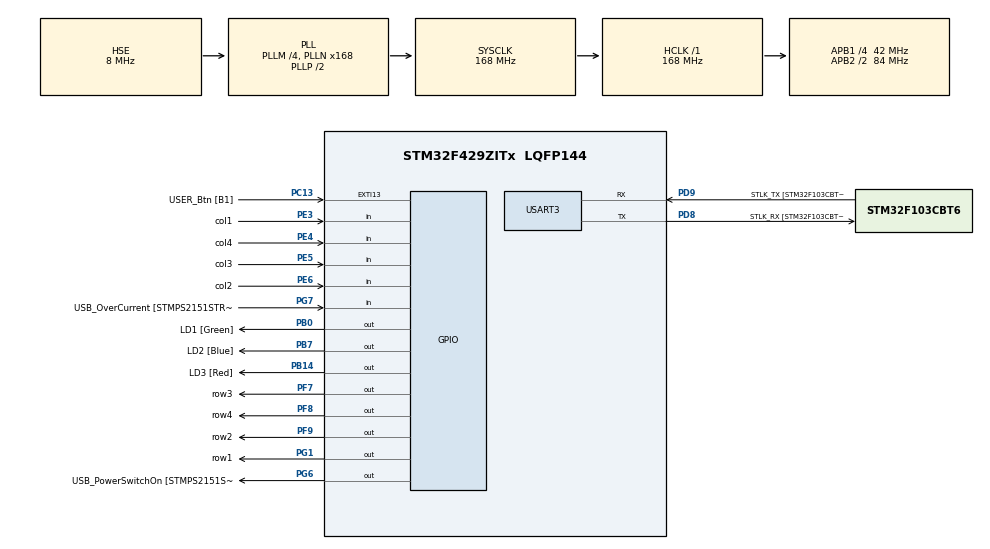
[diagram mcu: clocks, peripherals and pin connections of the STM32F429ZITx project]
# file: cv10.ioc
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Mcu.Family=STM32F4
Mcu.Name=STM32F429ZITx
Mcu.Package=LQFP144
NVIC.PriorityGroup=NVIC_PRIORITYGROUP_4
NVIC.TIM3_IRQn=true\:0\:0\:false\:false\:true\:true\:true\:true
PA1.GPIO_Label=RMII_REF_CLK [LAN8742A-CZ-TR_REFCLK0]
PA1.Signal=ETH_REF_CLK
PA10.GPIO_Label=USB_ID
PA10.Signal=USB_OTG_FS_ID
PA11.GPIO_Label=USB_DM
PA11.Signal=USB_OTG_FS_DM
PA12.GPIO_Label=USB_DP
PA12.Signal=USB_OTG_FS_DP
PA13.GPIO_Label=TMS
PA13.Mode=Serial_Wire
PA13.Signal=SYS_JTMS-SWDIO
PA14.GPIO_Label=TCK
PA14.Mode=Serial_Wire
PA14.Signal=SYS_JTCK-SWCLK
PA2.GPIO_Label=RMII_MDIO [LAN8742A-CZ-TR_MDIO]
PA2.Signal=ETH_MDIO
PA7.GPIO_Label=RMII_CRS_DV [LAN8742A-CZ-TR_CRS_DV]
PA7.Signal=ETH_CRS_DV
PA8.GPIO_Label=USB_SOF [TP1]
PA8.Signal=USB_OTG_FS_SOF
PA9.GPIO_Label=USB_VBUS
PA9.Signal=USB_OTG_FS_VBUS
PB0.GPIO_Label=LD1 [Green]
PB0.Signal=GPIO_Output
PB13.GPIO_Label=RMII_TXD1 [LAN8742A-CZ-TR_TXD1]
PB13.Signal=ETH_TXD1
PB14.GPIO_Label=LD3 [Red]
PB14.Signal=GPIO_Output
PB7.GPIO_Label=LD2 [Blue]
PB7.Signal=GPIO_Output
PC1.GPIO_Label=RMII_MDC [LAN8742A-CZ-TR_MDC]
PC1.Signal=ETH_MDC
PC13.GPIO_Label=USER_Btn [B1]
PC13.Signal=GPXTI13
PC14/OSC32_IN.Mode=LSE-External-Oscillator
PC14/OSC32_IN.Signal=RCC_OSC32_IN
PC15/OSC32_OUT.Mode=LSE-External-Oscillator
PC15/OSC32_OUT.Signal=RCC_OSC32_OUT
PC4.GPIO_Label=RMII_RXD0 [LAN8742A-CZ-TR_RXD0]
PC4.Signal=ETH_RXD0
PC5.GPIO_Label=RMII_RXD1 [LAN8742A-CZ-TR_RXD1]
PC5.Signal=ETH_RXD1
PD8.GPIO_Label=STLK_RX [STM32F103CBT6_PA3]
PD8.Mode=Asynchronous
PD8.Signal=USART3_TX
PD9.GPIO_Label=STLK_TX [STM32F103CBT6_PA2]
PD9.Mode=Asynchronous
PD9.Signal=USART3_RX
PE3.GPIO_Label=col1
PE3.GPIO_PuPd=GPIO_PULLUP
PE3.Signal=GPIO_Input
PE4.GPIO_Label=col4
PE4.GPIO_PuPd=GPIO_PULLUP
PE4.Signal=GPIO_Input
PE5.GPIO_Label=col3
PE5.GPIO_PuPd=GPIO_PULLUP
PE5.Signal=GPIO_Input
PE6.GPIO_Label=col2
PE6.GPIO_PuPd=GPIO_PULLUP
PE6.Signal=GPIO_Input
PF7.GPIO_Label=row3
PF7.GPIO_ModeDefaultOutputPP=GPIO_MODE_OUTPUT_OD
PF7.GPIO_PuPd=GPIO_NOPULL
PF7.Signal=GPIO_Output
PF8.GPIO_Label=row4
PF8.GPIO_ModeDefaultOutputPP=GPIO_MODE_OUTPUT_OD
PF8.GPIO_PuPd=GPIO_NOPULL
PF8.Signal=GPIO_Output
PF9.GPIO_Label=row2
PF9.GPIO_ModeDefaultOutputPP=GPIO_MODE_OUTPUT_OD
PF9.GPIO_PuPd=GPIO_NOPULL
PF9.Signal=GPIO_Output
PG1.GPIO_Label=row1
PG1.GPIO_ModeDefaultOutputPP=GPIO_MODE_OUTPUT_OD
PG1.GPIO_PuPd=GPIO_NOPULL
PG1.Signal=GPIO_Output
PG11.GPIO_Label=RMII_TX_EN [LAN8742A-CZ-TR_TXEN]
PG11.Signal=ETH_TX_EN
PG13.GPIO_Label=RMII_TXD0 [LAN8742A-CZ-TR_TXD0]
PG13.Signal=ETH_TXD0
PG6.GPIO_Label=USB_PowerSwitchOn [STMPS2151STR_EN]
PG6.Signal=GPIO_Output
PG7.GPIO_Label=USB_OverCurrent [STMPS2151STR_FAULT]
PG7.Signal=GPIO_Input
PH0/OSC_IN.GPIO_Label=MCO [STM32F103CBT6_PA8]
PH0/OSC_IN.Mode=HSE-External-Clock-Source
PH0/OSC_IN.Signal=RCC_OSC_IN
PH1/OSC_OUT.Mode=HSE-External-Clock-Source
PH1/OSC_OUT.Signal=RCC_OSC_OUT
ProjectManager.HeapSize=0x200
ProjectManager.StackSize=0x400
ProjectManager.TargetToolchain=STM32CubeIDE
RCC.48MHZClocksFreq_Value=48000000
RCC.AHBFreq_Value=168000000
RCC.APB1CLKDivider=RCC_HCLK_DIV4
RCC.APB1Freq_Value=42000000
RCC.APB1TimFreq_Value=84000000
RCC.APB2CLKDivider=RCC_HCLK_DIV2
RCC.APB2Freq_Value=84000000
RCC.APB2TimCLKDivider=2
RCC.APB2TimFreq_Value=168000000
RCC.CortexFreq_Value=168000000
RCC.HCLKFreq_Value=168000000
RCC.HSE_VALUE=8000000
RCC.HSI_VALUE=16000000
RCC.PLLM=4
RCC.PLLMUL=RCC_PLL_MUL9
RCC.PLLN=168
RCC.PLLQ=7
RCC.PLLSourceVirtual=RCC_PLLSOURCE_HSE
RCC.PRESCALERUSB=RCC_USBCLKSOURCE_PLL_DIV1_5
RCC.SYSCLKFreq_VALUE=168000000
RCC.SYSCLKSource=RCC_SYSCLKSOURCE_PLLCLK
RCC.SYSCLKSourceVirtual=RCC_SYSCLKSOURCE_PLLCLK
RCC.USBFreq_Value=48000000
RCC.VCOOutputFreq_Value=336000000
TIM3.AutoReloadPreload=TIM_AUTORELOAD_PRELOAD_DISABLE
TIM3.Period=99
TIM3.Prescaler=8399
USART3.VirtualMode=VM_ASYNC
VP_TIM3_VS_ClockSourceINT.Mode=Internal
board=NUCLEO-F429ZI

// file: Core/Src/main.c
/* USER CODE BEGIN Header */
/**
  ******************************************************************************
  * @file           : main.c
  * @brief          : Main program body
  ******************************************************************************
  * @attention
  *
  * Copyright (c) 2023 STMicroelectronics.
  * All rights reserved.
  *
  * This software is licensed under terms that can be found in the LICENSE file
  * in the root directory of this software component.
  * If no LICENSE file comes with this software, it is provided AS-IS.
  *
  ******************************************************************************
  */
/* USER CODE END Header */
#include "main.h"

/* USER CODE BEGIN Includes */
#include <stdio.h>

/* USER CODE END Includes */

TIM_HandleTypeDef htim3;

UART_HandleTypeDef huart3;

/* USER CODE BEGIN PV */
static volatile int8_t key = -1;
static const uint8_t kod[] = {7, 9, 3, 2, 12};

/* USER CODE END PV */

void SystemClock_Config(void);
static void MX_GPIO_Init(void);
static void MX_USART3_UART_Init(void);
static void MX_TIM3_Init(void);

/* USER CODE BEGIN 0 */
int __io_putchar(int ch)
{
ITM_SendChar(ch);
return 0;
}

/* USER CODE END 0 */

int main(void)
{
  /* USER CODE BEGIN 1 */
	static uint32_t poz = 0;
	static uint32_t t_pos_stisk = 0;
  /* USER CODE END 1 */

  /* MCU Configuration--------------------------------------------------------*/

  /* Reset of all peripherals, Initializes the Flash interface and the Systick. */
  HAL_Init();

  /* Configure the system clock */
  SystemClock_Config();

  /* Initialize all configured peripherals */
  MX_GPIO_Init();
  MX_USART3_UART_Init();
  MX_TIM3_Init();
  /* USER CODE BEGIN 2 */
  HAL_TIM_Base_Start_IT(&htim3);
  /* USER CODE END 2 */

  /* Infinite loop */
  /* USER CODE BEGIN WHILE */
  while (1)
  {
	  if (key != -1)
	  {
		  printf("stisknuto: %d\n", key);
		  HAL_Delay(250);
		  if (HAL_GetTick()-t_pos_stisk <3000)
		  {
			  if (key == kod[poz])
			  {
				  printf("dobre \n");
				  poz++;
				  if (poz >= sizeof(kod))
				  {
					  HAL_GPIO_TogglePin(LD1_GPIO_Port, LD1_Pin);
					  printf("zadal jsi spravny kod \n");
				  }
			  }
			  else
			  {
				  poz = 0;
				  printf("spatne cislo" "\n");
			  }
		  }
		  else
		  {
			  poz = 0;
			  printf("timeout \n");
		  }
		  t_pos_stisk = HAL_GetTick();
		  key = -1;
	  }

    /* USER CODE END WHILE */

  }
}

void SystemClock_Config(void)
{
  RCC_OscInitTypeDef RCC_OscInitStruct = {0};
  RCC_ClkInitTypeDef RCC_ClkInitStruct = {0};

  /** Configure the main internal regulator output voltage
  */
  __HAL_RCC_PWR_CLK_ENABLE();
  __HAL_PWR_VOLTAGESCALING_CONFIG(PWR_REGULATOR_VOLTAGE_SCALE1);

  /** Initializes the RCC Oscillators according to the specified parameters
  * in the RCC_OscInitTypeDef structure.
  */
  RCC_OscInitStruct.OscillatorType = RCC_OSCILLATORTYPE_HSE;
  RCC_OscInitStruct.HSEState = RCC_HSE_BYPASS;
  RCC_OscInitStruct.PLL.PLLState = RCC_PLL_ON;
  RCC_OscInitStruct.PLL.PLLSource = RCC_PLLSOURCE_HSE;
  RCC_OscInitStruct.PLL.PLLM = 4;
  RCC_OscInitStruct.PLL.PLLN = 168;
  RCC_OscInitStruct.PLL.PLLP = RCC_PLLP_DIV2;
  RCC_OscInitStruct.PLL.PLLQ = 7;
  if (HAL_RCC_OscConfig(&RCC_OscInitStruct) != HAL_OK)
  {
    Error_Handler();
  }

  /** Initializes the CPU, AHB and APB buses clocks
  */
  RCC_ClkInitStruct.ClockType = RCC_CLOCKTYPE_HCLK|RCC_CLOCKTYPE_SYSCLK
                              |RCC_CLOCKTYPE_PCLK1|RCC_CLOCKTYPE_PCLK2;
  RCC_ClkInitStruct.SYSCLKSource = RCC_SYSCLKSOURCE_PLLCLK;
  RCC_ClkInitStruct.AHBCLKDivider = RCC_SYSCLK_DIV1;
  RCC_ClkInitStruct.APB1CLKDivider = RCC_HCLK_DIV4;
  RCC_ClkInitStruct.APB2CLKDivider = RCC_HCLK_DIV2;

  if (HAL_RCC_ClockConfig(&RCC_ClkInitStruct, FLASH_LATENCY_5) != HAL_OK)
  {
    Error_Handler();
  }
}

static void MX_TIM3_Init(void)
{

  TIM_ClockConfigTypeDef sClockSourceConfig = {0};
  TIM_MasterConfigTypeDef sMasterConfig = {0};

  htim3.Instance = TIM3;
  htim3.Init.Prescaler = 8399;
  htim3.Init.CounterMode = TIM_COUNTERMODE_UP;
  htim3.Init.Period = 99;
  htim3.Init.ClockDivision = TIM_CLOCKDIVISION_DIV1;
  htim3.Init.AutoReloadPreload = TIM_AUTORELOAD_PRELOAD_DISABLE;
  if (HAL_TIM_Base_Init(&htim3) != HAL_OK)
  {
    Error_Handler();
  }
  sClockSourceConfig.ClockSource = TIM_CLOCKSOURCE_INTERNAL;
  if (HAL_TIM_ConfigClockSource(&htim3, &sClockSourceConfig) != HAL_OK)
  {
    Error_Handler();
  }
  sMasterConfig.MasterOutputTrigger = TIM_TRGO_RESET;
  sMasterConfig.MasterSlaveMode = TIM_MASTERSLAVEMODE_DISABLE;
  if (HAL_TIMEx_MasterConfigSynchronization(&htim3, &sMasterConfig) != HAL_OK)
  {
    Error_Handler();
  }

}

static void MX_USART3_UART_Init(void)
{

  huart3.Instance = USART3;
  huart3.Init.BaudRate = 115200;
  huart3.Init.WordLength = UART_WORDLENGTH_8B;
  huart3.Init.StopBits = UART_STOPBITS_1;
  huart3.Init.Parity = UART_PARITY_NONE;
  huart3.Init.Mode = UART_MODE_TX_RX;
  huart3.Init.HwFlowCtl = UART_HWCONTROL_NONE;
  huart3.Init.OverSampling = UART_OVERSAMPLING_16;
  if (HAL_UART_Init(&huart3) != HAL_OK)
  {
    Error_Handler();
  }

}

static void MX_GPIO_Init(void)
{
  GPIO_InitTypeDef GPIO_InitStruct = {0};

  /* GPIO Ports Clock Enable */
  __HAL_RCC_GPIOE_CLK_ENABLE();
  __HAL_RCC_GPIOC_CLK_ENABLE();
  __HAL_RCC_GPIOF_CLK_ENABLE();
  __HAL_RCC_GPIOH_CLK_ENABLE();
  __HAL_RCC_GPIOA_CLK_ENABLE();
  __HAL_RCC_GPIOB_CLK_ENABLE();
  __HAL_RCC_GPIOG_CLK_ENABLE();
  __HAL_RCC_GPIOD_CLK_ENABLE();

  /*Configure GPIO pin Output Level */
  HAL_GPIO_WritePin(GPIOF, row3_Pin|row4_Pin|row2_Pin, GPIO_PIN_RESET);

  /*Configure GPIO pin Output Level */
  HAL_GPIO_WritePin(GPIOB, LD1_Pin|LD3_Pin|LD2_Pin, GPIO_PIN_RESET);

  /*Configure GPIO pin Output Level */
  HAL_GPIO_WritePin(GPIOG, row1_Pin|USB_PowerSwitchOn_Pin, GPIO_PIN_RESET);

  /*Configure GPIO pins : col1_Pin col4_Pin col3_Pin col2_Pin */
  GPIO_InitStruct.Pin = col1_Pin|col4_Pin|col3_Pin|col2_Pin;
  GPIO_InitStruct.Mode = GPIO_MODE_INPUT;
  GPIO_InitStruct.Pull = GPIO_PULLUP;
  HAL_GPIO_Init(GPIOE, &GPIO_InitStruct);

  /*Configure GPIO pin : USER_Btn_Pin */
  GPIO_InitStruct.Pin = USER_Btn_Pin;
  GPIO_InitStruct.Mode = GPIO_MODE_IT_RISING;
  GPIO_InitStruct.Pull = GPIO_NOPULL;
  HAL_GPIO_Init(USER_Btn_GPIO_Port, &GPIO_InitStruct);

  /*Configure GPIO pins : row3_Pin row4_Pin row2_Pin */
  GPIO_InitStruct.Pin = row3_Pin|row4_Pin|row2_Pin;
  GPIO_InitStruct.Mode = GPIO_MODE_OUTPUT_OD;
  GPIO_InitStruct.Pull = GPIO_NOPULL;
  GPIO_InitStruct.Speed = GPIO_SPEED_FREQ_LOW;
  HAL_GPIO_Init(GPIOF, &GPIO_InitStruct);

  /*Configure GPIO pins : RMII_MDC_Pin RMII_RXD0_Pin RMII_RXD1_Pin */
  GPIO_InitStruct.Pin = RMII_MDC_Pin|RMII_RXD0_Pin|RMII_RXD1_Pin;
  GPIO_InitStruct.Mode = GPIO_MODE_AF_PP;
  GPIO_InitStruct.Pull = GPIO_NOPULL;
  GPIO_InitStruct.Speed = GPIO_SPEED_FREQ_VERY_HIGH;
  GPIO_InitStruct.Alternate = GPIO_AF11_ETH;
  HAL_GPIO_Init(GPIOC, &GPIO_InitStruct);

  /*Configure GPIO pins : RMII_REF_CLK_Pin RMII_MDIO_Pin RMII_CRS_DV_Pin */
  GPIO_InitStruct.Pin = RMII_REF_CLK_Pin|RMII_MDIO_Pin|RMII_CRS_DV_Pin;
  GPIO_InitStruct.Mode = GPIO_MODE_AF_PP;
  GPIO_InitStruct.Pull = GPIO_NOPULL;
  GPIO_InitStruct.Speed = GPIO_SPEED_FREQ_VERY_HIGH;
  GPIO_InitStruct.Alternate = GPIO_AF11_ETH;
  HAL_GPIO_Init(GPIOA, &GPIO_InitStruct);

  /*Configure GPIO pins : LD1_Pin LD3_Pin LD2_Pin */
  GPIO_InitStruct.Pin = LD1_Pin|LD3_Pin|LD2_Pin;
  GPIO_InitStruct.Mode = GPIO_MODE_OUTPUT_PP;
  GPIO_InitStruct.Pull = GPIO_NOPULL;
  GPIO_InitStruct.Speed = GPIO_SPEED_FREQ_LOW;
  HAL_GPIO_Init(GPIOB, &GPIO_InitStruct);

  /*Configure GPIO pin : row1_Pin */
  GPIO_InitStruct.Pin = row1_Pin;
  GPIO_InitStruct.Mode = GPIO_MODE_OUTPUT_OD;
  GPIO_InitStruct.Pull = GPIO_NOPULL;
  GPIO_InitStruct.Speed = GPIO_SPEED_FREQ_LOW;
  HAL_GPIO_Init(row1_GPIO_Port, &GPIO_InitStruct);

  /*Configure GPIO pin : RMII_TXD1_Pin */
  GPIO_InitStruct.Pin = RMII_TXD1_Pin;
  GPIO_InitStruct.Mode = GPIO_MODE_AF_PP;
  GPIO_InitStruct.Pull = GPIO_NOPULL;
  GPIO_InitStruct.Speed = GPIO_SPEED_FREQ_VERY_HIGH;
  GPIO_InitStruct.Alternate = GPIO_AF11_ETH;
  HAL_GPIO_Init(RMII_TXD1_GPIO_Port, &GPIO_InitStruct);

  /*Configure GPIO pin : USB_PowerSwitchOn_Pin */
  GPIO_InitStruct.Pin = USB_PowerSwitchOn_Pin;
  GPIO_InitStruct.Mode = GPIO_MODE_OUTPUT_PP;
  GPIO_InitStruct.Pull = GPIO_NOPULL;
  GPIO_InitStruct.Speed = GPIO_SPEED_FREQ_LOW;
  HAL_GPIO_Init(USB_PowerSwitchOn_GPIO_Port, &GPIO_InitStruct);

  /*Configure GPIO pin : USB_OverCurrent_Pin */
  GPIO_InitStruct.Pin = USB_OverCurrent_Pin;
  GPIO_InitStruct.Mode = GPIO_MODE_INPUT;
  GPIO_InitStruct.Pull = GPIO_NOPULL;
  HAL_GPIO_Init(USB_OverCurrent_GPIO_Port, &GPIO_InitStruct);

  /*Configure GPIO pins : USB_SOF_Pin USB_ID_Pin USB_DM_Pin USB_DP_Pin */
  GPIO_InitStruct.Pin = USB_SOF_Pin|USB_ID_Pin|USB_DM_Pin|USB_DP_Pin;
  GPIO_InitStruct.Mode = GPIO_MODE_AF_PP;
  GPIO_InitStruct.Pull = GPIO_NOPULL;
  GPIO_InitStruct.Speed = GPIO_SPEED_FREQ_VERY_HIGH;
  GPIO_InitStruct.Alternate = GPIO_AF10_OTG_FS;
  HAL_GPIO_Init(GPIOA, &GPIO_InitStruct);

  /*Configure GPIO pin : USB_VBUS_Pin */
  GPIO_InitStruct.Pin = USB_VBUS_Pin;
  GPIO_InitStruct.Mode = GPIO_MODE_INPUT;
  GPIO_InitStruct.Pull = GPIO_NOPULL;
  HAL_GPIO_Init(USB_VBUS_GPIO_Port, &GPIO_InitStruct);

  /*Configure GPIO pins : RMII_TX_EN_Pin RMII_TXD0_Pin */
  GPIO_InitStruct.Pin = RMII_TX_EN_Pin|RMII_TXD0_Pin;
  GPIO_InitStruct.Mode = GPIO_MODE_AF_PP;
  GPIO_InitStruct.Pull = GPIO_NOPULL;
  GPIO_InitStruct.Speed = GPIO_SPEED_FREQ_VERY_HIGH;
  GPIO_InitStruct.Alternate = GPIO_AF11_ETH;
  HAL_GPIO_Init(GPIOG, &GPIO_InitStruct);

}

/* USER CODE BEGIN 4 */
void HAL_TIM_PeriodElapsedCallback(TIM_HandleTypeDef *htim)
{
 static int row = 0;
 static const int keyboard[4][4] = {
 { 1, 2, 3, 21 },
 { 4, 5, 6, 22 },
 { 7, 8, 9, 23 },
 { 11, 0, 12, 24 },
 };
 if (key == -1) {
 if (HAL_GPIO_ReadPin(col1_GPIO_Port, col1_Pin) == GPIO_PIN_RESET) key = keyboard[row][0];
 if (HAL_GPIO_ReadPin(col2_GPIO_Port, col2_Pin) == GPIO_PIN_RESET) key = keyboard[row][1];
 if (HAL_GPIO_ReadPin(col3_GPIO_Port, col3_Pin) == GPIO_PIN_RESET) key = keyboard[row][2];
 if (HAL_GPIO_ReadPin(col4_GPIO_Port, col4_Pin) == GPIO_PIN_RESET) key = keyboard[row][3];

 }
 HAL_GPIO_WritePin(row1_GPIO_Port, row1_Pin, GPIO_PIN_SET);
 HAL_GPIO_WritePin(row2_GPIO_Port, row2_Pin, GPIO_PIN_SET);
 HAL_GPIO_WritePin(row3_GPIO_Port, row3_Pin, GPIO_PIN_SET);
 HAL_GPIO_WritePin(row4_GPIO_Port, row4_Pin, GPIO_PIN_SET);
 switch (row) {
 case 0: row = 1; HAL_GPIO_WritePin(row2_GPIO_Port, row2_Pin, GPIO_PIN_RESET); break;
 case 1: row = 2; HAL_GPIO_WritePin(row3_GPIO_Port, row3_Pin, GPIO_PIN_RESET); break;
 case 2: row = 3; HAL_GPIO_WritePin(row4_GPIO_Port, row4_Pin, GPIO_PIN_RESET); break;
 case 3: row = 0; HAL_GPIO_WritePin(row1_GPIO_Port, row1_Pin, GPIO_PIN_RESET); break;

 }
}
/* USER CODE END 4 */

void Error_Handler(void)
{
  __disable_irq();
  while (1)
  {
  }
}
